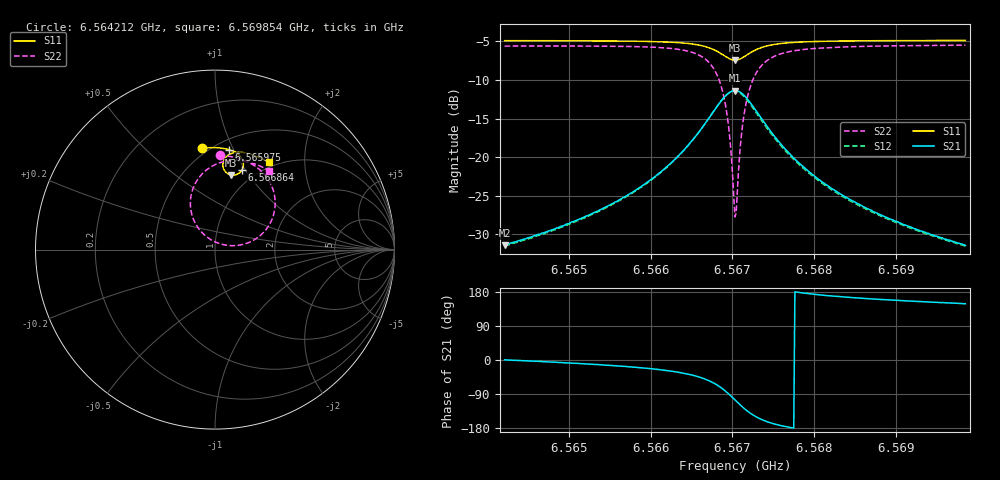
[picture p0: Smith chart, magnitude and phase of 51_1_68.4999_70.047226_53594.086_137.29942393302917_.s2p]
#  HZ  S  RI  R  50.00
! Rohde & Schwarz Vector Network Analyzer
! Rohde-Schwarz,ZNB20-2Port,1311601062101988,3.16
! Created: UTC 3/20/2024, 5:05:59 PM
! freq[Hz]  re:S11  im:S11  re:S21  im:S21  re:S12  im:S12  re:S22  im:S22
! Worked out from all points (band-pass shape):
!   401 points, 6.564212 GHz to 6.569854 GHz, reference 50 ohm
!   highest |S21| = -11.37 dB at 6.567033 GHz (marker M1); lowest = -31.4 dB at 6.564212 GHz (marker M2)
!   |S21| within 3 dB of the highest: 6.566752 GHz to 6.567316 GHz (563.9 kHz wide, 0.00859 % of centre)
!   lowest |S11| = -7.4 dB at 6.567033 GHz (marker M3), VSWR 2.48, Z = 40.8 + j41.5 ohm
!   |S11| at or under -10 dB: nowhere
!   |S22| runs from -27.7 to -5.5 dB; largest |S21 - S12| = 0.012
!   S11 on the Smith chart (normalised r, x): 6.564212 GHz: 0.46, +0.77; 6.565975 GHz: 0.59, +0.96; 6.566864 GHz: 0.85, +0.97; 6.569854 GHz: 0.93, +1.34
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6.564212e9  -0.074 0.5641  0.0268 0.000238  0.0265 -0.000274  0.0252 0.5246
6.565157e9  0.0029 0.5679  0.0398 -0.00673  0.0391 -0.00734  0.1128 0.5128
6.5659751e9  0.0776 0.5571  0.0646 -0.0265  0.0635 -0.0273  0.2139 0.4713
6.5661021e9  0.0906 0.5528  0.071 -0.0336  0.0698 -0.0343  0.2345 0.457
6.5664124e9  0.1255 0.5343  0.0914 -0.0645  0.0899 -0.0658  0.293 0.3957
6.5666381e9  0.1511 0.5041  0.1049 -0.1169  0.1025 -0.119  0.3325 0.295
6.566765e9  0.1582 0.4741  0.0979 -0.1697  0.094 -0.1726  0.3265 0.1945
6.5668638e9  0.1501 0.4434  0.0668 -0.2216  0.0597 -0.2245  0.2713 0.0968
6.5669061e9  0.1402 0.4308  0.0416 -0.2426  0.0329 -0.2445  0.2253 0.0586
6.5669484e9  0.1261 0.4207  0.00848 -0.2585  -0.00172 -0.2585  0.1651 0.0314
6.5669766e9  0.1145 0.4164  -0.0172 -0.2643  -0.028 -0.2628  0.1189 0.0225
6.5670189e9  0.0954 0.4148  -0.0583 -0.2634  -0.0692 -0.259  0.0461 0.0276
6.567033e9  0.0889 0.4159  -0.0719 -0.2604  -0.0826 -0.2549  0.0224 0.0343
6.5670612e9  0.0767 0.42  -0.098 -0.2505  -0.1078 -0.2431  -0.0221 0.0548
6.5671035e9  0.061 0.4309  -0.131 -0.2272  -0.1388 -0.2178  -0.0768 0.0999
6.5671459e9  0.0503 0.4454  -0.1548 -0.1976  -0.16 -0.1873  -0.1137 0.1546
6.5672023e9  0.0441 0.4663  -0.1717 -0.1563  -0.1735 -0.146  -0.1356 0.229
6.5672728e9  0.0463 0.4898  -0.1743 -0.1104  -0.1736 -0.1016  -0.1319 0.3088
6.5675267e9  0.0847 0.5328  -0.132 -0.0244  -0.1293 -0.0206  -0.036 0.4524
6.5679781e9  0.1454 0.5422  -0.077 0.00831  -0.0751 0.00941  0.0917 0.497
6.5689231e9  0.2315 0.52  -0.0371 0.0146  -0.0363 0.0149  0.2211 0.4776
6.5698541e9  0.2993 0.4861  -0.0229 0.014  -0.0225 0.0141  0.3002 0.4396
